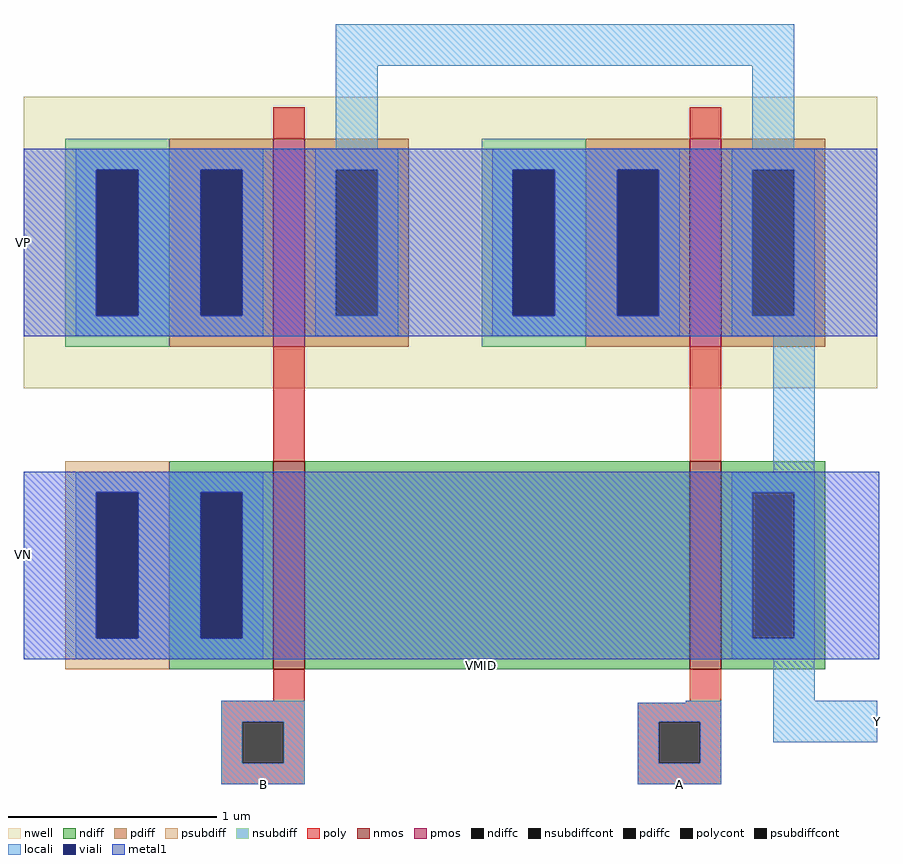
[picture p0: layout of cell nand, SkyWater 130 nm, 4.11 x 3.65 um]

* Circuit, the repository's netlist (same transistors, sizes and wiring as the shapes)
* SPICE3 file created from nand.ext - technology: sky130A

.subckt nand A B Y VP VN
X0 Y B VP VP sky130_fd_pr__pfet_01v8 ad=0.5 pd=3 as=0.5 ps=3 w=1 l=0.15
X1 Y A VMID VN sky130_fd_pr__nfet_01v8 ad=0.5 pd=3 as=0.925 ps=2.85 w=1 l=0.15
X2 VMID B VN VN sky130_fd_pr__nfet_01v8 ad=0.925 pd=2.85 as=0.5 ps=3 w=1 l=0.15
X3 Y A VP VP sky130_fd_pr__pfet_01v8 ad=0.5 pd=3 as=0.5 ps=3 w=1 l=0.15
.ends

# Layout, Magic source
magic
tech sky130A
<< nwell >>
rect -440 45 -30 185
<< nmos >>
rect -320 -90 -305 10
rect -120 -90 -105 10
<< pmos >>
rect -320 65 -305 165
rect -120 65 -105 165
<< ndiff >>
rect -370 -5 -320 10
rect -370 -75 -355 -5
rect -335 -75 -320 -5
rect -370 -90 -320 -75
rect -305 -90 -120 10
rect -105 -5 -55 10
rect -105 -75 -90 -5
rect -70 -75 -55 -5
rect -105 -90 -55 -75
<< pdiff >>
rect -370 150 -320 165
rect -370 80 -355 150
rect -335 80 -320 150
rect -370 65 -320 80
rect -305 150 -255 165
rect -305 80 -290 150
rect -270 80 -255 150
rect -305 65 -255 80
rect -170 150 -120 165
rect -170 80 -155 150
rect -135 80 -120 150
rect -170 65 -120 80
rect -105 150 -55 165
rect -105 80 -90 150
rect -70 80 -55 150
rect -105 65 -55 80
<< ndiffc >>
rect -355 -75 -335 -5
rect -90 -75 -70 -5
<< pdiffc >>
rect -355 80 -335 150
rect -290 80 -270 150
rect -155 80 -135 150
rect -90 80 -70 150
<< psubdiff >>
rect -420 -5 -370 10
rect -420 -75 -405 -5
rect -385 -75 -370 -5
rect -420 -90 -370 -75
<< nsubdiff >>
rect -420 150 -370 165
rect -420 80 -405 150
rect -385 80 -370 150
rect -420 65 -370 80
rect -220 150 -170 165
rect -220 80 -205 150
rect -185 80 -170 150
rect -220 65 -170 80
<< psubdiffcont >>
rect -405 -75 -385 -5
<< nsubdiffcont >>
rect -405 80 -385 150
rect -205 80 -185 150
<< poly >>
rect -320 165 -305 180
rect -120 165 -105 180
rect -320 10 -305 65
rect -120 10 -105 65
rect -320 -105 -305 -90
rect -120 -105 -105 -90
rect -345 -115 -305 -105
rect -122 -106 -105 -105
rect -345 -135 -335 -115
rect -315 -135 -305 -115
rect -345 -145 -305 -135
rect -145 -115 -105 -106
rect -145 -135 -135 -115
rect -115 -135 -105 -115
rect -145 -145 -105 -135
<< polycont >>
rect -335 -135 -315 -115
rect -135 -135 -115 -115
<< locali >>
rect -290 200 -70 220
rect -290 160 -270 200
rect -90 160 -70 200
rect -415 150 -325 160
rect -415 80 -405 150
rect -385 80 -355 150
rect -335 80 -325 150
rect -415 70 -325 80
rect -300 150 -260 160
rect -300 80 -290 150
rect -270 80 -260 150
rect -300 70 -260 80
rect -215 150 -125 160
rect -215 80 -205 150
rect -185 80 -155 150
rect -135 80 -125 150
rect -215 70 -125 80
rect -100 150 -60 160
rect -100 80 -90 150
rect -70 80 -60 150
rect -100 70 -60 80
rect -80 5 -60 70
rect -415 -5 -325 5
rect -415 -75 -405 -5
rect -385 -75 -355 -5
rect -335 -75 -325 -5
rect -415 -85 -325 -75
rect -100 -5 -60 5
rect -100 -75 -90 -5
rect -70 -75 -60 -5
rect -100 -85 -60 -75
rect -80 -105 -60 -85
rect -345 -115 -305 -105
rect -122 -106 -105 -105
rect -345 -135 -335 -115
rect -315 -135 -305 -115
rect -345 -145 -305 -135
rect -145 -115 -105 -106
rect -145 -135 -135 -115
rect -115 -135 -105 -115
rect -80 -125 -30 -105
rect -145 -145 -105 -135
<< viali >>
rect -405 80 -385 150
rect -355 80 -335 150
rect -205 80 -185 150
rect -155 80 -135 150
rect -405 -75 -385 -5
rect -355 -75 -335 -5
<< metal1 >>
rect -440 150 -30 160
rect -440 80 -405 150
rect -385 80 -355 150
rect -335 80 -205 150
rect -185 80 -155 150
rect -135 80 -30 150
rect -440 70 -30 80
rect -440 -5 -29 5
rect -440 -75 -405 -5
rect -385 -75 -355 -5
rect -335 -75 -29 -5
rect -440 -85 -29 -75
<< labels >>
rlabel metal1 -440 115 -440 115 7 VP
port 4 w
rlabel metal1 -440 -35 -440 -35 7 VN
port 5 w
rlabel locali -30 -115 -30 -115 3 Y
port 3 e
rlabel locali -325 -145 -325 -145 5 B
port 2 s
rlabel locali -125 -145 -125 -145 5 A
port 1 s
rlabel ndiff -220 -88 -220 -88 5 VMID
<< end >>
